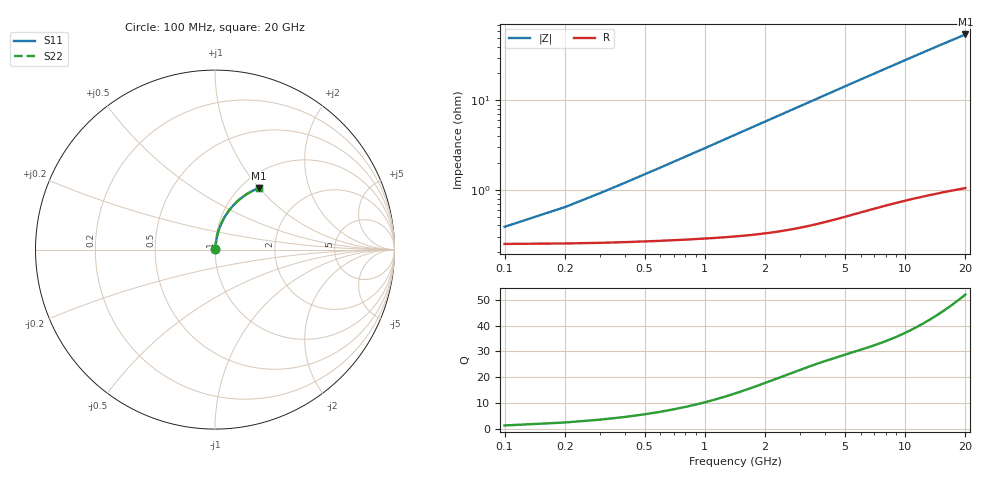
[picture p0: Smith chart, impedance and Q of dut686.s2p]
! Touchstone file exported from HFSS 2026.1.0
!  File:  C:/ffzhzh/LocalFiles/Ansys_Project_Files/temp_train_BSMRDL_686_1783017615_46388.aedt
!  Generated:  02:41:39 AM Jul  3, 2026
!  Design:  BSMRDL
!  Project:  temp_train_BSMRDL_686_1783017615_46388
! Variables:
!  h_bsmrdl = 5.46um
!  h_ox = 20um
!  h_rdl = 5um
!  h_sub = 80um
!  h_tmrdl = 5um
!  h_tsv = 80um
!  h_via = 3um
!  l_bsmrdl = 399.69um
!  l_sub = 799.69um
!  l_tmrdl = 200um
!  m_sub = 200um
!  pitch = 56.57um
!  r_tsv = 6um
!  s_tmrdl = 10um
!  w_bsmrdl = 10.67um
!  w_sub = 500um
!  w_tmrdl = 12um
!  x_tsv_center1 = 206um
!  x_tsv_center2 = 616.36um
!  x_tsv_center3 = 828.36um
!  x_tsv_center4 = 1238.72um
!  x_tsv_center5 = 1450.72um
!  x_tsv_center6 = 1861.08um
# GHz S MA R 50.000000
! Terminal data exported
! Port[1] = BSM_RDL1_1_T1
! Port[2] = BSM_RDL1_1_T2
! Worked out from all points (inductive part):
!   200 points, 100 MHz to 20 GHz, reference 50 ohm
!   read as one part in series: L = 468 pH near 300 MHz
!   highest Q = 52.2 at 20 GHz (marker M1), where L = 434 pH
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0.1  0.003558 45.6  0.9975 -0.2  0.9975 -0.2  0.003558 45.6
! Gamma 0 0 0 0
! Port Impedance 50 0 50 0
0.2  0.005678 63.4  0.9975 -0.4  0.9975 -0.4  0.005677 63.4
0.3  0.00804 71.0  0.9974 -0.6  0.9974 -0.6  0.00804 71.0
0.4  0.01047 74.9  0.9973 -0.8  0.9973 -0.8  0.01047 74.9
0.5  0.01293 77.3  0.9973 -1.0  0.9973 -1.0  0.01293 77.3
0.7  0.01785 79.8  0.9971 -1.3  0.9971 -1.3  0.01785 79.8
0.8  0.02032 80.6  0.997 -1.5  0.997 -1.5  0.02032 80.6
1  0.02525 81.6  0.9969 -1.9  0.9969 -1.9  0.02525 81.6
1.2  0.03017 82.1  0.9967 -2.3  0.9967 -2.3  0.03017 82.1
1.4  0.0351 82.4  0.9964 -2.6  0.9964 -2.6  0.0351 82.4
1.7  0.04248 82.5  0.996 -3.2  0.996 -3.2  0.04248 82.5
2  0.04984 82.5  0.9956 -3.8  0.9956 -3.8  0.04984 82.5
2.7  0.06694 81.8  0.9942 -5.1  0.9942 -5.1  0.06694 81.8
3.5  0.08629 80.8  0.9923 -6.6  0.9923 -6.6  0.08629 80.8
4.2  0.103 79.7  0.9902 -7.8  0.9902 -7.8  0.103 79.7
5  0.1219 78.4  0.9876 -9.3  0.9876 -9.3  0.1219 78.4
6.8  0.1635 75.4  0.9806 -12.5  0.9806 -12.5  0.1635 75.4
8.3  0.197 72.9  0.9738 -15.2  0.9738 -15.2  0.197 72.9
10.1  0.2359 69.9  0.9644 -18.3  0.9644 -18.3  0.2359 69.9
13.4  0.3033 64.6  0.9446 -23.8  0.9446 -23.8  0.3033 64.6
16.7  0.3649 59.5  0.9221 -29.1  0.9221 -29.1  0.3649 59.5
20  0.4204 54.6  0.8979 -34.2  0.8979 -34.2  0.4204 54.6
